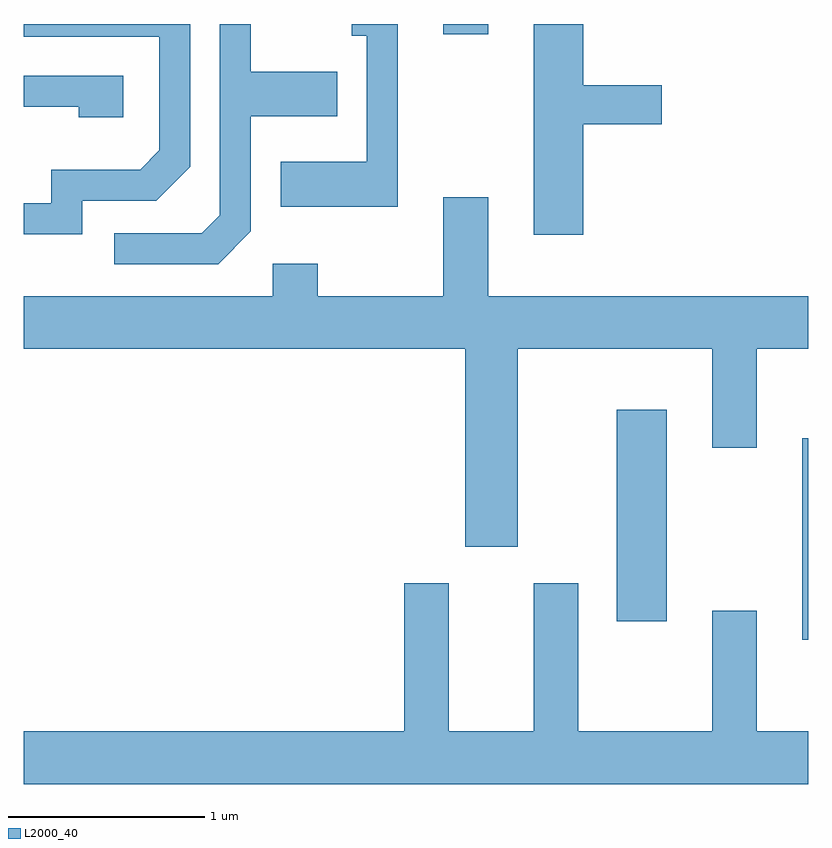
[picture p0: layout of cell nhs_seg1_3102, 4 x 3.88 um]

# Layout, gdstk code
import gdstk
lib = gdstk.Library(unit=1e-6, precision=1e-09)
def R(c, l, rs):  # rectangles x0, y0, x1, y1
    for r in rs: c.add(gdstk.rectangle(r[:2], r[2:], *l))
def P(c, l, *ps):  # polygons
    for p in ps: c.add(gdstk.Polygon(p, *l))
L2000_40 = (2000, 40)

nhs_seg1_3102 = lib.new_cell('nhs_seg1_3102')
R(nhs_seg1_3102, L2000_40, [(283.581,862.571,283.611,863.599), (282.636,862.666,282.889,863.744), (281.751,865.661,281.979,865.712)])
P(nhs_seg1_3102, L2000_40, [(282.464,865.201),(282.864,865.201),(282.864,865.399),(282.464,865.399),(282.464,865.712),(282.211,865.712),(282.211,864.636),(282.464,864.636)],
  [(280.769,864.654),(280.769,865.241),(281.209,865.241),(281.209,865.469),(280.769,865.469),(280.769,865.712),(280.611,865.712),(280.611,864.737),(280.519,864.644),(280.073,864.644),(280.073,864.486),(280.602,864.486)],
  [(281.519,865.712),(281.283,865.712),(281.283,865.651),(281.361,865.651),(281.361,865.009),(280.921,865.009),(280.921,864.781),(281.519,864.781)],
  [(279.909,864.811),(280.287,864.811),(280.459,864.984),(280.459,865.712),(279.611,865.712),(279.611,865.646),(280.301,865.646),(280.301,865.067),(280.204,864.969),(279.751,864.969),(279.751,864.799),(279.611,864.799),(279.611,864.641),(279.909,864.641)],
  [(280.119,865.449),(279.611,865.449),(279.611,865.291),(279.891,865.291),(279.891,865.236),(280.119,865.236)],
  [(282.129,864.056),(283.121,864.056),(283.121,863.551),(283.349,863.551),(283.349,864.056),(283.611,864.056),(283.611,864.324),(281.979,864.324),(281.979,864.829),(281.751,864.829),(281.751,864.324),(281.109,864.324),(281.109,864.489),(280.881,864.489),(280.881,864.324),(279.611,864.324),(279.611,864.056),(281.861,864.056),(281.861,863.046),(282.129,863.046)],
  [(283.611,862.104),(283.349,862.104),(283.349,862.719),(283.121,862.719),(283.121,862.104),(282.439,862.104),(282.439,862.859),(282.211,862.859),(282.211,862.104),(281.779,862.104),(281.779,862.859),(281.551,862.859),(281.551,862.104),(279.611,862.104),(279.611,861.836),(283.611,861.836)])

lib.write_gds('nhs_seg1_3102.gds')
